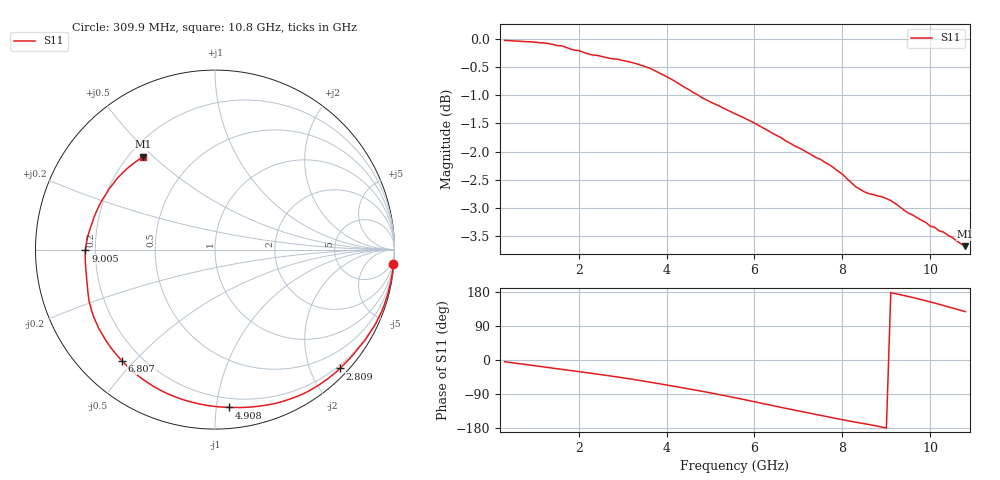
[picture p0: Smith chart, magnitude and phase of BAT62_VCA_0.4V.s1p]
! Infineon Technologies  Discrete & RF Semiconductors
! BAT62
! VCA = 0.4 V
! One-Port S-Parameters
# Hz  S  MA  R  50
!f  S11
!Hz  Mag  Ang
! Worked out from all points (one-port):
!   106 points, 309.9 MHz to 10.8 GHz, reference 50 ohm
!   lowest |S11| = -3.7 dB at 10.8 GHz (marker M1), VSWR 4.79, Z = 12.8 + j23.3 ohm
!   |S11| at or under -10 dB: nowhere
!   S11 on the Smith chart (normalised r, x): 309.9 MHz: 1, -25; 2.809 GHz: 0.15, -2.49; 4.908 GHz: 0.14, -1.09; 6.807 GHz: 0.13, -0.46; 9.005 GHz: 0.16, -0.00; 10.8 GHz: 0.26, +0.47
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3.0985e8  0.9973 -4.6
1.0095e9  0.9938 -15.3
1.30935e9  0.9908 -20.0
1.70915e9  0.9833 -26.2
2.4088e9  0.9674 -37.1
2.8086e9  0.9602 -43.6
3.0085e9  0.957 -47.0
3.4083e9  0.9481 -54.3
3.70815e9  0.9385 -60.2
4.30785e9  0.9113 -72.2
4.90755e9  0.8829 -84.8
5.2074e9  0.8717 -91.4
5.6072e9  0.8566 -100.7
6.10695e9  0.8376 -112.8
6.50675e9  0.8211 -122.6
6.8066e9  0.8083 -129.7
6.90655e9  0.8041 -132.1
7.2064e9  0.7927 -139.1
7.6062e9  0.777 -148.4
8.006e9  0.7583 -157.6
8.2059e9  0.7454 -162.0
8.70565e9  0.7275 -172.4
9.0055e9  0.7216 -179.6
9.50525e9  0.7003 167.6
9.8051e9  0.6902 159.3
1.010495e10  0.6803 150.2
1.050475e10  0.6662 137.4
1.08046e10  0.6545 127.6
